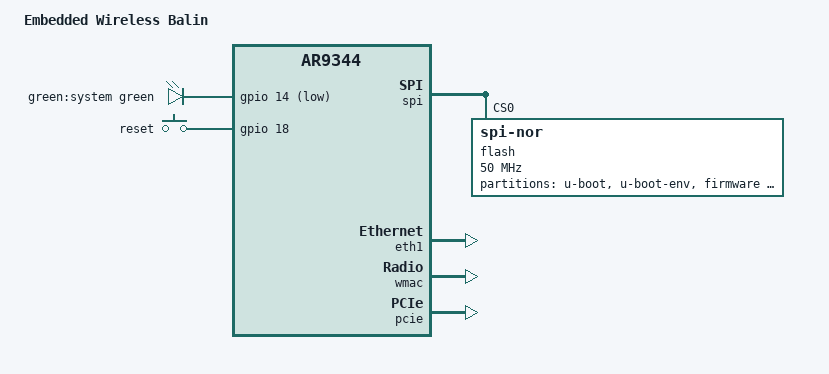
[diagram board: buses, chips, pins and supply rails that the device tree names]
// SPDX-License-Identifier: GPL-2.0-or-later OR MIT

#include "ar9344.dtsi"

#include <dt-bindings/gpio/gpio.h>
#include <dt-bindings/input/input.h>
#include <dt-bindings/leds/common.h>

/ {
	model = "Embedded Wireless Balin";
	compatible = "embeddedwireless,balin", "qca,ar9344";

	chosen {
		stdout-path = "serial0:115200n8";
	};

	aliases {
		led-boot = &led_system;
		led-failsafe = &led_system;
		led-running = &led_system;
		led-upgrade = &led_system;
	};

	leds {
		compatible = "gpio-leds";

		led_system: led-0 {
			label = "green:system";
			color = <LED_COLOR_ID_GREEN>;
			function = LED_FUNCTION_POWER;
			gpios = <&gpio 14 GPIO_ACTIVE_LOW>;
			default-state = "on";
		};
	};

	keys {
		compatible = "gpio-keys";

		reset {
			linux,code = <KEY_RESTART>;
			gpios = <&gpio 18 GPIO_ACTIVE_HIGH>;
			debounce-interval = <60>;
		};
	};
};

&ref {
	clock-frequency = <40000000>;
};

&spi {
	status = "okay";

	flash@0 {
		compatible = "jedec,spi-nor";
		reg = <0>;
		spi-max-frequency = <50000000>;

		partitions {
			compatible = "fixed-partitions";
			#address-cells = <1>;
			#size-cells = <1>;

			partition@0 {
				label = "u-boot";
				reg = <0x000000 0x040000>;
				read-only;
			};

			partition@40000 {
				label = "u-boot-env";
				reg = <0x040000 0x010000>;
			};

			partition@50000 {
				compatible = "denx,uimage";
				label = "firmware";
				reg = <0x050000 0xfa0000>;
			};

			partition@ff0000 {
				label = "art";
				reg = <0xff0000 0x010000>;
				read-only;

				compatible = "nvmem-cells";
				#address-cells = <1>;
				#size-cells = <1>;

				calibration_art_1000: calibration_data@1000 {
					reg = <0x1000 0x440>;
				};

				macaddr_art_1002: macaddr@1002 {
					reg = <0x1002 0x6>;
				};
			};
		};
	};
};

&builtin_switch {
	/delete-property/qca,phy4-mii-enable;
};

&eth1 {
	status = "okay";

	nvmem-cells = <&macaddr_art_1002>;
	nvmem-cell-names = "mac-address";
	mac-address-increment-byte = <3>;
	mac-address-increment = <0x40>;

	gmac-config {
		device = <&gmac>;
		switch-phy-swap = <0>;
		switch-only-mode = <1>;
	};
};

&wmac {
	status = "okay";

	nvmem-cells = <&macaddr_art_1002>, <&calibration_art_1000>;
	nvmem-cell-names = "mac-address", "calibration";
};

&pcie {
	status = "okay";
};
